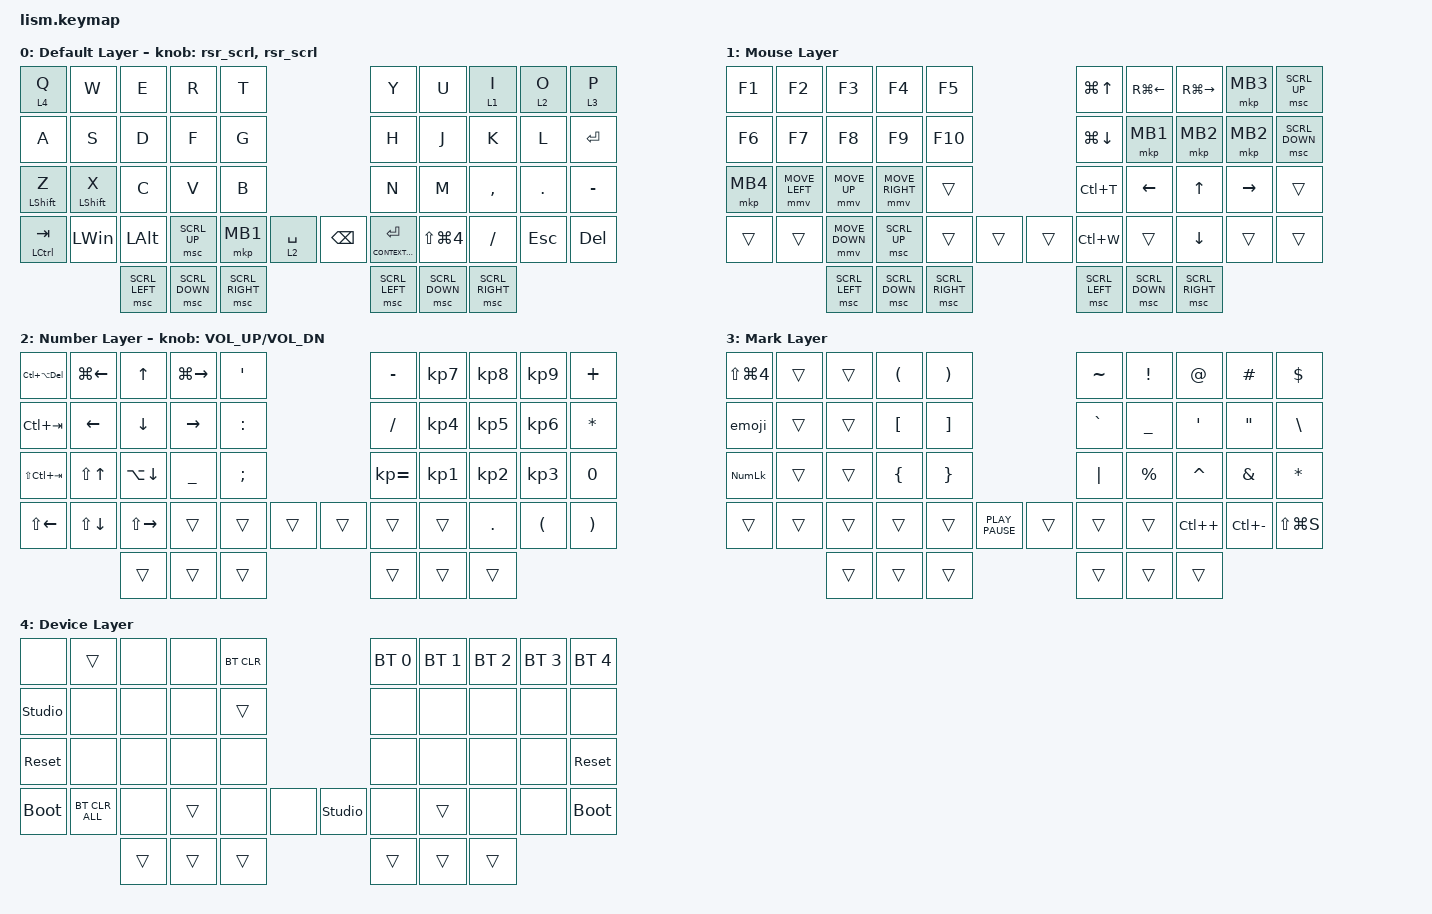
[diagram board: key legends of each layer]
#define ZMK_POINTING_DEFAULT_SCRL_VAL 200

#include <behaviors.dtsi>
#include <dt-bindings/zmk/bt.h>
#include <dt-bindings/zmk/keys.h>
#include <dt-bindings/zmk/pointing.h>
#include <dt-bindings/zmk/mouse.h>
#include <behaviors/runtime-sensor-rotate.dtsi>
#include <behaviors/default_layer.dtsi>
#include <dt-bindings/zmk_behavior_default_layer/default_layer.h>

&mt {
    tapping-term-ms = <300>;
    flavor = "balanced";
};

&lt {
    quick-tap-ms = <300>;
};


/ {
    macros {
        emoji: emoji_macro {
            compatible = "zmk,behavior-macro";
            label = "EMOJI";
            #binding-cells = <0>;
            bindings = 
                <&macro_press &kp CAPSLOCK>,
                <&macro_tap &kp E>,
                <&macro_release &kp CAPSLOCK>;
        };
    };

    behaviors {
        encoder_kp: sensor_rotate_kp {
            compatible = "zmk,behavior-sensor-rotate-var";
            #sensor-binding-cells = <2>;
            bindings = <&kp>, <&kp>;
        };

        rsr_scrl: rsr_scrl {
            compatible = "zmk,behavior-runtime-sensor-rotate";
            #sensor-binding-cells = <0>;
            tap-ms = <20>;
            cw-binding = <&msc SCRL_DOWN>;
            ccw-binding = <&msc SCRL_UP>;
        };
    };

    keymap {
        compatible = "zmk,keymap";

        default_layer {
            display-name = "Default Layer";
            bindings = <
&lt 4 Q               &kp W             &kp E           &kp R           &kp T                                   &kp Y                     &kp U           &lt 1 I          &lt 2 O     &lt 3 P
&kp A                 &kp S             &kp D           &kp F           &kp G                                   &kp H                     &kp J           &kp K            &kp L       &kp ENTER
&mt LEFT_SHIFT Z      &mt LEFT_SHIFT X  &kp C           &kp V           &kp B                                   &kp N                     &kp M           &kp COMMA        &kp DOT     &kp MINUS
&mt LEFT_CONTROL TAB  &kp LEFT_WIN      &kp LEFT_ALT    &msc SCRL_UP    &mkp MB1  &lt 2 SPACE    &kp BACKSPACE  &mt K_CONTEXT_MENU ENTER  &kp LS(LG(N4))  &kp SLASH        &kp ESCAPE  &kp DELETE
                                        &msc SCRL_LEFT  &msc SCRL_DOWN  &msc SCRL_RIGHT                         &msc SCRL_LEFT            &msc SCRL_DOWN  &msc SCRL_RIGHT

            >;

            sensor-bindings = <&rsr_scrl &rsr_scrl>;
        };

        layer_1 {
            display-name = "Mouse Layer";
            bindings = <
&kp F1    &kp F2          &kp F3          &kp F4           &kp F5                            &kp LG(UP_ARROW)  &kp RG(LEFT)     &kp RG(RIGHT)   &mkp MB3   &msc SCRL_UP
&kp F6    &kp F7          &kp F8          &kp F9           &kp F10                           &kp LG(DOWN)      &mkp MB1         &mkp MB2        &mkp MB2   &msc SCRL_DOWN
&mkp MB4  &mmv MOVE_LEFT  &mmv MOVE_UP    &mmv MOVE_RIGHT  &trans                            &kp LC(T)         &kp LEFT         &kp UP          &kp RIGHT  &trans
&trans    &trans          &mmv MOVE_DOWN  &msc SCRL_UP     &trans          &trans    &trans  &kp LC(W)         &trans           &kp DOWN        &trans     &trans
                          &msc SCRL_LEFT  &msc SCRL_DOWN   &msc SCRL_RIGHT                   &msc SCRL_LEFT    &msc SCRL_DOWN   &msc SCRL_RIGHT

            >;
        };

        layer_2 {
            display-name = "Number Layer";
            bindings = <
&kp LC(LA(DEL))  &kp LG(LEFT)      &kp UP          &kp LG(RIGHT)   &kp SINGLE_QUOTE                    &kp MINUS        &kp KP_NUMBER_7  &kp KP_NUMBER_8  &kp KP_NUMBER_9       &kp PLUS
&kp LC(TAB)      &kp LEFT          &kp DOWN_ARROW  &kp RIGHT       &kp COLON                           &kp SLASH        &kp KP_NUMBER_4  &kp KP_NUMBER_5  &kp KP_NUMBER_6       &kp ASTERISK
&kp LS(LC(TAB))  &kp LS(UP_ARROW)  &kp LA(DOWN)    &kp UNDERSCORE  &kp SEMICOLON                       &kp KP_EQUAL     &kp KP_NUMBER_1  &kp KP_NUMBER_2  &kp KP_NUMBER_3       &kp NUMBER_0
&kp LS(LEFT)     &kp LS(DOWN)      &kp LS(RIGHT)   &trans          &trans            &trans    &trans  &trans           &trans           &kp PERIOD       &kp LEFT_PARENTHESIS  &kp RIGHT_PARENTHESIS
                                   &trans          &trans          &trans                              &trans           &trans           &trans

            >;

            sensor-bindings = <&encoder_kp C_VOL_UP C_VOL_DN>;
        };

        layer_3 {
            display-name = "Mark Layer";
            bindings = <
&kp LS(LG(N4))  &trans  &trans  &kp LEFT_PARENTHESIS  &kp RIGHT_PARENTHESIS                              &kp TILDE  &kp EXCLAMATION  &kp AT_SIGN       &kp HASH           &kp DOLLAR
&emoji          &trans  &trans  &kp LEFT_BRACKET      &kp RIGHT_BRACKET                                  &kp GRAVE  &kp UNDER        &kp SINGLE_QUOTE  &kp DOUBLE_QUOTES  &kp BACKSLASH
&kp KP_NUMLOCK  &trans  &trans  &kp LEFT_BRACE        &kp RIGHT_BRACE                                    &kp PIPE   &kp PERCENT      &kp CARET         &kp AMPERSAND      &kp ASTERISK
&trans          &trans  &trans  &trans                &trans                 &kp K_PLAY_PAUSE    &trans  &trans     &trans           &kp LC(PLUS)      &kp LC(MINUS)      &kp LS(LG(S))
                        &trans  &trans                &trans                                             &trans     &trans           &trans

            >;
        };

        layer_4 {
            display-name = "Device Layer";
            bindings = <
&none            &trans          &none   &none   &bt BT_CLR                           &bt BT_SEL 0  &bt BT_SEL 1  &bt BT_SEL 2  &bt BT_SEL 3  &bt BT_SEL 4
&studio_unlock   &none           &none   &none   &trans                               &none         &none         &none         &none         &none
&sys_reset       &none           &none   &none   &none                                &none         &none         &none         &none         &sys_reset
&bootloader      &bt BT_CLR_ALL  &none   &trans  &none       &none    &studio_unlock  &none         &trans        &none         &none         &bootloader
                                 &trans  &trans  &trans                               &trans        &trans        &trans

            >;
        };

        layer_5 {
            status = "reserved";
            display-name = "Brank Layer";
            bindings = <
&trans  &trans  &trans  &trans  &trans                    &trans  &trans  &trans  &trans  &trans
&trans  &trans  &trans  &trans  &trans                    &trans  &trans  &trans  &trans  &trans
&trans  &trans  &trans  &trans  &trans                    &trans  &trans  &trans  &trans  &trans
&trans  &trans  &trans  &trans  &trans  &trans    &trans  &trans  &trans  &trans  &trans  &trans
                &trans  &trans  &trans                    &trans  &trans  &trans

            >;
        };

        layer_6 {
            status = "reserved";aaaaaa
            display-name = "Brank Layer";
            bindings = <
&trans  &trans  &trans  &trans  &trans                    &trans  &trans  &trans  &trans  &trans
&trans  &trans  &trans  &trans  &trans                    &trans  &trans  &trans  &trans  &trans
&trans  &trans  &trans  &trans  &trans                    &trans  &trans  &trans  &trans  &trans
&trans  &trans  &trans  &trans  &trans  &trans    &trans  &trans  &trans  &trans  &trans  &trans
                &trans  &trans  &trans                    &trans  &trans  &trans

            >;
        };

        layer_7 {
            status = "reserved";
            display-name = "Brank Layer";
            bindings = <
&trans  &trans  &trans  &trans  &trans                    &trans  &trans  &trans  &trans  &trans
&trans  &trans  &trans  &trans  &trans                    &trans  &trans  &trans  &trans  &trans
&trans  &trans  &trans  &trans  &trans                    &trans  &trans  &trans  &trans  &trans
&trans  &trans  &trans  &trans  &trans  &trans    &trans  &trans  &trans  &trans  &trans  &trans
                &trans  &trans  &trans                    &trans  &trans  &trans

            >;
        };
    };
};
